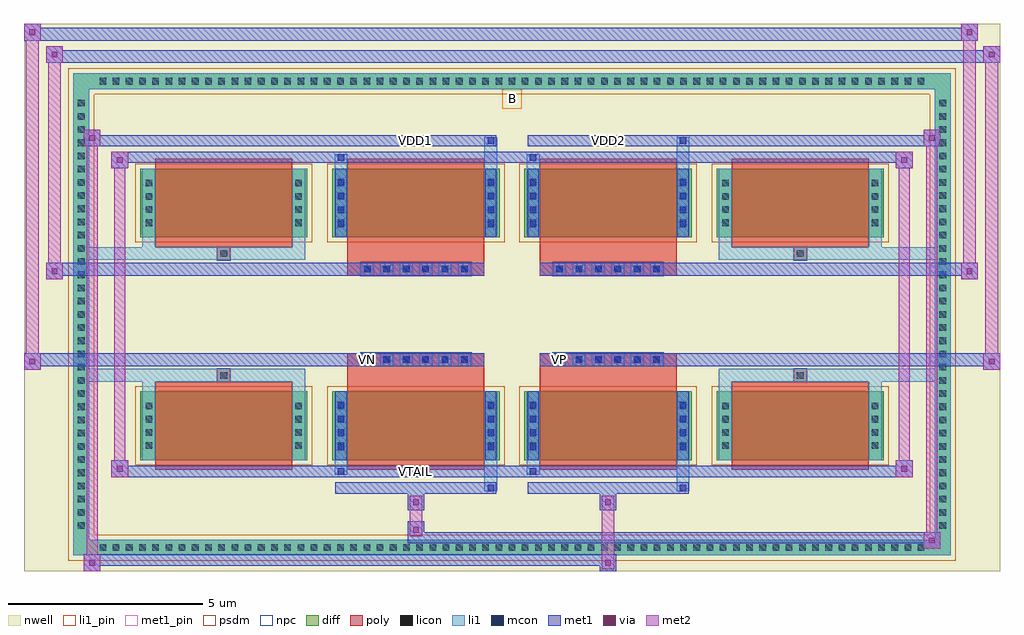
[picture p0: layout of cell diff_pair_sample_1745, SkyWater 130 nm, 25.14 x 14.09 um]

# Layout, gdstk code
import gdstk
lib = gdstk.Library(unit=1e-6, precision=5e-09)
def R(c, l, rs):  # rectangles x0, y0, x1, y1
    for r in rs: c.add(gdstk.rectangle(r[:2], r[2:], *l))
def A(c, l, x, y, w, h, nx, ny, dx, dy):  # array of equal rectangles
    R(c, l, [(x+i*dx, y+j*dy, x+i*dx+w, y+j*dy+h) for i in range(nx) for j in range(ny)])
def P(c, l, *ps):  # polygons
    for p in ps: c.add(gdstk.Polygon(p, *l))
nwell = (64, 20)
diff = (65, 20)
poly = (66, 20)
licon = (66, 44)
li1_pin = (67, 16)
li1 = (67, 20)
mcon = (67, 44)
met1_pin = (68, 16)
met1 = (68, 20)
via = (68, 44)
met2 = (69, 20)
psdm = (94, 20)
npc = (95, 20)

diff_pair_sample_1745 = lib.new_cell('diff_pair_sample_1745')
R(diff_pair_sample_1745, nwell, [(-12.57,-6.61,12.57,7.48), (-9.89,-4.8,-0.01,-0.8), (0.01,-4.8,9.89,-0.8), (-9.89,0.8,-0.01,4.8), (0.01,0.8,9.89,4.8)])
A(diff_pair_sample_1745, diff, -10.745, -6.21, 0.41, 0.41, 63, 2, 0.34, 12.01)
A(diff_pair_sample_1745, diff, -11.3, -5.645, 0.41, 0.41, 1, 33, 0, 0.34)
A(diff_pair_sample_1745, diff, 10.89, -5.645, 0.41, 0.41, 1, 33, 0, 0.34)
A(diff_pair_sample_1745, diff, -9.58, -3.755, 4.31, 1.77, 4, 2, 4.95, 5.74)
R(diff_pair_sample_1745, diff, [(-10.745,-6.21,10.745,-5.8), (-11.3,-5.645,-10.89,5.645), (10.89,-5.645,11.3,5.645), (-10.745,5.8,10.745,6.21)])
P(diff_pair_sample_1745, diff, [(11.3,6.21),(-11.3,6.21),(-11.3,-5.8),(-10.89,-5.8),(-10.89,5.8),(10.89,5.8),(10.89,-5.8),(-10.89,-5.8),(-11.3,-5.8),(-11.3,-6.21),(11.3,-6.21)])
A(diff_pair_sample_1745, poly, -9.19, -4.005, 3.53, 2.27, 4, 2, 4.95, 5.74)
A(diff_pair_sample_1745, poly, -3.89, -1.33, 0.33, 0.33, 6, 2, 0.5, 2.33)
A(diff_pair_sample_1745, poly, 1.06, -1.33, 0.33, 0.33, 6, 2, 0.5, 2.33)
R(diff_pair_sample_1745, poly, [(-7.59,-1.735,-7.26,-1.405), (-7.59,-1.735,-7.26,-1.405), (-4.24,-1.735,-0.71,-1.33), (0.71,-1.735,4.24,-1.33), (7.26,-1.735,7.59,-1.405), (7.26,-1.735,7.59,-1.405), (-4.24,-1.33,-0.71,-1), (0.71,-1.33,4.24,-1), (-4.24,1,-0.71,1.33), (0.71,1,4.24,1.33), (-4.24,1.33,-0.71,1.735), (0.71,1.33,4.24,1.735), (-7.59,1.405,-7.26,1.735), (-7.59,1.405,-7.26,1.735), (7.26,1.405,7.59,1.735), (7.26,1.405,7.59,1.735)])
A(diff_pair_sample_1745, licon, -10.625, -6.09, 0.17, 0.17, 63, 2, 0.34, 12.01)
A(diff_pair_sample_1745, licon, -11.18, -5.525, 0.17, 0.17, 1, 33, 0, 0.34)
A(diff_pair_sample_1745, licon, 11.01, -5.525, 0.17, 0.17, 1, 33, 0, 0.34)
A(diff_pair_sample_1745, licon, -9.44, -3.465, 0.17, 0.17, 1, 4, 0, 0.34)
A(diff_pair_sample_1745, licon, -5.58, -3.465, 0.17, 0.17, 1, 4, 0, 0.34)
A(diff_pair_sample_1745, licon, -4.49, -3.465, 0.17, 0.17, 1, 4, 0, 0.34)
A(diff_pair_sample_1745, licon, -0.63, -3.465, 0.17, 0.17, 1, 4, 0, 0.34)
A(diff_pair_sample_1745, licon, 0.46, -3.465, 0.17, 0.17, 1, 4, 0, 0.34)
A(diff_pair_sample_1745, licon, 4.32, -3.465, 0.17, 0.17, 1, 4, 0, 0.34)
A(diff_pair_sample_1745, licon, 5.41, -3.465, 0.17, 0.17, 1, 4, 0, 0.34)
A(diff_pair_sample_1745, licon, 9.27, -3.465, 0.17, 0.17, 1, 4, 0, 0.34)
A(diff_pair_sample_1745, licon, -3.81, -1.25, 0.17, 0.17, 6, 2, 0.5, 2.33)
A(diff_pair_sample_1745, licon, 1.14, -1.25, 0.17, 0.17, 6, 2, 0.5, 2.33)
A(diff_pair_sample_1745, licon, -9.44, 2.275, 0.17, 0.17, 1, 4, 0, 0.34)
A(diff_pair_sample_1745, licon, -5.58, 2.275, 0.17, 0.17, 1, 4, 0, 0.34)
A(diff_pair_sample_1745, licon, -4.49, 2.275, 0.17, 0.17, 1, 4, 0, 0.34)
A(diff_pair_sample_1745, licon, -0.63, 2.275, 0.17, 0.17, 1, 4, 0, 0.34)
A(diff_pair_sample_1745, licon, 0.46, 2.275, 0.17, 0.17, 1, 4, 0, 0.34)
A(diff_pair_sample_1745, licon, 4.32, 2.275, 0.17, 0.17, 1, 4, 0, 0.34)
A(diff_pair_sample_1745, licon, 5.41, 2.275, 0.17, 0.17, 1, 4, 0, 0.34)
A(diff_pair_sample_1745, licon, 9.27, 2.275, 0.17, 0.17, 1, 4, 0, 0.34)
R(diff_pair_sample_1745, licon, [(-7.51,-1.655,-7.34,-1.485), (7.34,-1.655,7.51,-1.485), (-7.51,1.485,-7.34,1.655), (7.34,1.485,7.51,1.655)])
R(diff_pair_sample_1745, li1_pin, [(-0.25,5.3,0.25,5.8)])
A(diff_pair_sample_1745, li1, -10.705, -6.17, 0.33, 0.33, 63, 2, 0.34, 12.01)
A(diff_pair_sample_1745, li1, -11.26, -5.605, 0.33, 0.33, 1, 33, 0, 0.34)
A(diff_pair_sample_1745, li1, 10.93, -5.605, 0.33, 0.33, 1, 33, 0, 0.34)
A(diff_pair_sample_1745, li1, -9.52, -3.545, 0.33, 0.33, 1, 4, 0, 0.34)
A(diff_pair_sample_1745, li1, -5.66, -3.545, 0.33, 0.33, 1, 4, 0, 0.34)
A(diff_pair_sample_1745, li1, -4.57, -3.545, 0.33, 0.33, 1, 4, 0, 0.34)
A(diff_pair_sample_1745, li1, -0.71, -3.545, 0.33, 0.33, 1, 4, 0, 0.34)
A(diff_pair_sample_1745, li1, 0.38, -3.545, 0.33, 0.33, 1, 4, 0, 0.34)
A(diff_pair_sample_1745, li1, 4.24, -3.545, 0.33, 0.33, 1, 4, 0, 0.34)
A(diff_pair_sample_1745, li1, 5.33, -3.545, 0.33, 0.33, 1, 4, 0, 0.34)
A(diff_pair_sample_1745, li1, 9.19, -3.545, 0.33, 0.33, 1, 4, 0, 0.34)
A(diff_pair_sample_1745, li1, -4.49, -3.495, 0.17, 0.17, 1, 4, 0, 0.36)
A(diff_pair_sample_1745, li1, -0.63, -3.495, 0.17, 0.17, 1, 4, 0, 0.36)
A(diff_pair_sample_1745, li1, 0.46, -3.495, 0.17, 0.17, 1, 4, 0, 0.36)
A(diff_pair_sample_1745, li1, 4.32, -3.495, 0.17, 0.17, 1, 4, 0, 0.36)
A(diff_pair_sample_1745, li1, -3.89, -1.33, 0.33, 0.33, 6, 2, 0.5, 2.33)
A(diff_pair_sample_1745, li1, 1.06, -1.33, 0.33, 0.33, 6, 2, 0.5, 2.33)
A(diff_pair_sample_1745, li1, -9.52, 2.195, 0.33, 0.33, 1, 4, 0, 0.34)
A(diff_pair_sample_1745, li1, -5.66, 2.195, 0.33, 0.33, 1, 4, 0, 0.34)
A(diff_pair_sample_1745, li1, -4.57, 2.195, 0.33, 0.33, 1, 4, 0, 0.34)
A(diff_pair_sample_1745, li1, -0.71, 2.195, 0.33, 0.33, 1, 4, 0, 0.34)
A(diff_pair_sample_1745, li1, 0.38, 2.195, 0.33, 0.33, 1, 4, 0, 0.34)
A(diff_pair_sample_1745, li1, 4.24, 2.195, 0.33, 0.33, 1, 4, 0, 0.34)
A(diff_pair_sample_1745, li1, 5.33, 2.195, 0.33, 0.33, 1, 4, 0, 0.34)
A(diff_pair_sample_1745, li1, 9.19, 2.195, 0.33, 0.33, 1, 4, 0, 0.34)
A(diff_pair_sample_1745, li1, -4.49, 2.245, 0.17, 0.17, 1, 4, 0, 0.36)
A(diff_pair_sample_1745, li1, -0.63, 2.245, 0.17, 0.17, 1, 4, 0, 0.36)
A(diff_pair_sample_1745, li1, 0.46, 2.245, 0.17, 0.17, 1, 4, 0, 0.36)
A(diff_pair_sample_1745, li1, 4.32, 2.245, 0.17, 0.17, 1, 4, 0, 0.36)
R(diff_pair_sample_1745, li1, [(-11.3,-6.21,-10.89,-5.8), (-11.3,-6.21,-10.89,-5.8), (-10.89,-6.21,10.89,-5.8), (10.89,-6.21,11.3,-5.8), (10.89,-6.21,11.3,-5.8), (-11.3,-5.8,-10.89,5.8), (10.89,-5.8,11.3,5.8), (-0.71,-4.56,-0.38,-3.755), (-0.63,-4.56,-0.46,-4.39), (4.24,-4.56,4.57,-3.755), (4.32,-4.56,4.49,-4.39), (-4.57,-4.13,-4.24,-3.755), (-4.49,-4.13,-4.32,-3.96), (0.38,-4.13,0.71,-3.755), (0.46,-4.13,0.63,-3.96), (-9.52,-3.755,-9.19,-1.985), (-5.66,-3.755,-5.33,-1.985), (-4.57,-3.755,-4.24,-1.985), (-0.71,-3.755,-0.38,-1.985), (0.38,-3.755,0.71,-1.985), (4.24,-3.755,4.57,-1.985), (5.33,-3.755,5.66,-1.985), (9.19,-3.755,9.52,-1.985), (-4.49,-3.495,-4.32,-2.245), (-0.63,-3.495,-0.46,-2.245), (0.46,-3.495,0.63,-2.245), (4.32,-3.495,4.49,-2.245), (-9.52,-1.985,-9.19,-1.405), (-5.66,-1.985,-5.33,-1.405), (5.33,-1.985,5.66,-1.405), (9.19,-1.985,9.52,-1.405), (-11.3,-1.735,-7.59,-1.405), (-9.52,-1.735,-7.59,-1.405), (-7.59,-1.735,-7.26,-1.405), (-7.26,-1.735,-5.33,-1.405), (5.33,-1.735,7.26,-1.405), (7.26,-1.735,7.59,-1.405), (7.26,-1.735,11.3,-1.405), (7.59,-1.735,9.52,-1.405), (-11.3,1.405,-7.59,1.735), (-9.52,1.405,-7.59,1.735), (-9.52,1.405,-9.19,1.985), (-7.59,1.405,-7.26,1.735), (-7.26,1.405,-5.33,1.735), (-5.66,1.405,-5.33,1.985), (5.33,1.405,7.26,1.735), (5.33,1.405,5.66,1.985), (7.26,1.405,7.59,1.735), (7.26,1.405,11.3,1.735), (7.59,1.405,9.52,1.735), (9.19,1.405,9.52,1.985), (-9.52,1.985,-9.19,3.755), (-5.66,1.985,-5.33,3.755), (-4.57,1.985,-4.24,3.755), (-0.71,1.985,-0.38,3.755), (0.38,1.985,0.71,3.755), (4.24,1.985,4.57,3.755), (5.33,1.985,5.66,3.755), (9.19,1.985,9.52,3.755), (-4.49,2.245,-4.32,3.495), (-0.63,2.245,-0.46,3.495), (0.46,2.245,0.63,3.495), (4.32,2.245,4.49,3.495), (-4.57,3.755,-4.24,4.13), (-0.71,3.755,-0.38,4.56), (0.38,3.755,0.71,4.13), (4.24,3.755,4.57,4.56), (-4.49,3.96,-4.32,4.13), (0.46,3.96,0.63,4.13), (-0.63,4.39,-0.46,4.56), (4.32,4.39,4.49,4.56), (-11.3,5.8,-10.89,6.21), (-11.3,5.8,-10.89,6.21), (-10.89,5.8,10.89,6.21), (10.89,5.8,11.3,6.21), (10.89,5.8,11.3,6.21)])
A(diff_pair_sample_1745, mcon, -4.49, -3.495, 0.17, 0.17, 1, 4, 0, 0.36)
A(diff_pair_sample_1745, mcon, -0.63, -3.495, 0.17, 0.17, 1, 4, 0, 0.36)
A(diff_pair_sample_1745, mcon, 0.46, -3.495, 0.17, 0.17, 1, 4, 0, 0.36)
A(diff_pair_sample_1745, mcon, 4.32, -3.495, 0.17, 0.17, 1, 4, 0, 0.36)
A(diff_pair_sample_1745, mcon, -3.81, -1.25, 0.17, 0.17, 6, 2, 0.5, 2.33)
A(diff_pair_sample_1745, mcon, 1.14, -1.25, 0.17, 0.17, 6, 2, 0.5, 2.33)
A(diff_pair_sample_1745, mcon, -4.49, 2.245, 0.17, 0.17, 1, 4, 0, 0.36)
A(diff_pair_sample_1745, mcon, -0.63, 2.245, 0.17, 0.17, 1, 4, 0, 0.36)
A(diff_pair_sample_1745, mcon, 0.46, 2.245, 0.17, 0.17, 1, 4, 0, 0.36)
A(diff_pair_sample_1745, mcon, 4.32, 2.245, 0.17, 0.17, 1, 4, 0, 0.36)
R(diff_pair_sample_1745, mcon, [(-0.63,-4.56,-0.46,-4.39), (4.32,-4.56,4.49,-4.39), (-4.49,-4.13,-4.32,-3.96), (0.46,-4.13,0.63,-3.96), (-4.49,3.96,-4.32,4.13), (0.46,3.96,0.63,4.13), (-0.63,4.39,-0.46,4.56), (4.32,4.39,4.49,4.56)])
R(diff_pair_sample_1745, met1_pin, [(-2.61,-4.17,-2.34,-3.9), (-3.86,-1.29,-3.59,-1.02), (1.09,-1.29,1.36,-1.02), (-2.61,4.35,-2.34,4.62), (2.34,4.35,2.61,4.62)])
A(diff_pair_sample_1745, met1, -4.55, -3.555, 0.29, 0.29, 1, 4, 0, 0.36)
A(diff_pair_sample_1745, met1, -0.69, -3.555, 0.29, 0.29, 1, 4, 0, 0.36)
A(diff_pair_sample_1745, met1, 0.4, -3.555, 0.29, 0.29, 1, 4, 0, 0.36)
A(diff_pair_sample_1745, met1, 4.26, -3.555, 0.29, 0.29, 1, 4, 0, 0.36)
A(diff_pair_sample_1745, met1, -3.87, -1.31, 0.29, 0.29, 6, 2, 0.5, 2.33)
A(diff_pair_sample_1745, met1, 1.08, -1.31, 0.29, 0.29, 6, 2, 0.5, 2.33)
A(diff_pair_sample_1745, met1, -4.55, 2.185, 0.29, 0.29, 1, 4, 0, 0.36)
A(diff_pair_sample_1745, met1, -0.69, 2.185, 0.29, 0.29, 1, 4, 0, 0.36)
A(diff_pair_sample_1745, met1, 0.4, 2.185, 0.29, 0.29, 1, 4, 0, 0.36)
A(diff_pair_sample_1745, met1, 4.26, 2.185, 0.29, 0.29, 1, 4, 0, 0.36)
R(diff_pair_sample_1745, met1, [(-11.03,-6.61,-10.6,-6.18), (2.26,-6.61,2.69,-6.18), (-11.03,-6.47,2.69,-6.18), (10.6,-6.04,11.03,-5.61), (-2.69,-5.9,11.03,-5.61), (-2.69,-5.76,-2.26,-5.33), (-2.69,-5.05,-2.26,-4.62), (2.26,-5.05,2.69,-4.62), (-4.55,-4.62,-0.4,-4.33), (-0.69,-4.62,-0.4,-4.33), (0.4,-4.62,4.55,-4.33), (4.26,-4.62,4.55,-4.33), (-10.32,-4.19,-9.89,-3.76), (-10.32,-4.19,-4.55,-3.9), (-4.55,-4.19,-4.26,-3.9), (-4.55,-4.19,-0.4,-3.9), (-0.4,-4.19,0.4,-3.9), (0.4,-4.19,0.69,-3.9), (0.4,-4.19,4.55,-3.9), (4.55,-4.19,10.32,-3.9), (9.89,-4.19,10.32,-3.76), (-4.55,-3.755,-4.26,-1.985), (-0.69,-3.755,-0.4,-1.985), (0.4,-3.755,0.69,-1.985), (4.26,-3.755,4.55,-1.985), (-12.57,-1.43,-12.14,-1), (12.14,-1.43,12.57,-1), (-12.57,-1.33,-0.71,-1), (-4.24,-1.33,-0.71,-1), (0.71,-1.33,4.24,-1), (0.71,-1.33,12.57,-1), (-12,0.9,-11.57,1.33), (11.57,0.9,12,1.33), (-12,1,-4.24,1.33), (-4.24,1,-0.71,1.33), (0.71,1,4.24,1.33), (4.24,1,12,1.33), (-4.55,1.985,-4.26,3.755), (-0.69,1.985,-0.4,3.755), (0.4,1.985,0.69,3.755), (4.26,1.985,4.55,3.755), (-10.32,3.76,-9.89,4.19), (9.89,3.76,10.32,4.19), (-10.32,3.9,-4.55,4.19), (-4.55,3.9,-4.26,4.19), (-4.55,3.9,-0.4,4.19), (-0.4,3.9,0.4,4.19), (0.4,3.9,0.69,4.19), (0.4,3.9,4.55,4.19), (4.55,3.9,10.32,4.19), (-11.03,4.33,-10.6,4.76), (-11.03,4.33,-4.55,4.62), (-4.55,4.33,-0.4,4.62), (-0.69,4.33,-0.4,4.62), (0.4,4.33,4.55,4.62), (4.26,4.33,4.55,4.62), (4.55,4.33,11.03,4.62), (10.6,4.33,11.03,4.76), (-12,6.48,-11.57,6.91), (-12,6.48,-9.89,6.81), (-9.89,6.48,9.89,6.81), (9.89,6.48,12.57,6.81), (12.14,6.48,12.57,6.91), (-12.57,7.05,-12.14,7.48), (-12.57,7.05,-9.89,7.38), (-9.89,7.05,9.89,7.38), (9.89,7.05,12,7.38), (11.57,7.05,12,7.48)])
R(diff_pair_sample_1745, via, [(-10.89,-6.47,-10.74,-6.32), (2.4,-6.47,2.55,-6.32), (10.74,-5.9,10.89,-5.75), (-2.55,-5.62,-2.4,-5.47), (-2.55,-4.91,-2.4,-4.76), (2.4,-4.91,2.55,-4.76), (-10.18,-4.05,-10.03,-3.9), (10.03,-4.05,10.18,-3.9), (-12.43,-1.29,-12.28,-1.14), (12.28,-1.29,12.43,-1.14), (-11.86,1.04,-11.71,1.19), (11.71,1.04,11.86,1.19), (-10.18,3.9,-10.03,4.05), (10.03,3.9,10.18,4.05), (-10.89,4.47,-10.74,4.62), (10.74,4.47,10.89,4.62), (-11.86,6.62,-11.71,6.77), (12.28,6.62,12.43,6.77), (-12.43,7.19,-12.28,7.34), (11.71,7.19,11.86,7.34)])
R(diff_pair_sample_1745, met2, [(-11.03,-6.61,-10.6,-6.18), (-10.96,-6.61,-10.67,4.76), (-10.67,-6.61,-10.6,-6.18), (-10.98,-6.56,-10.65,-6.23), (2.31,-6.56,2.64,-6.23), (2.31,-6.23,2.64,-5), (10.6,-6.04,11.03,-5.61), (10.67,-6.04,10.96,4.76), (10.96,-6.04,11.03,-5.61), (10.65,-5.99,10.98,-5.66), (-2.64,-5.71,-2.31,-5.38), (-2.64,-5.38,-2.31,-5), (-2.64,-5,-2.31,-4.67), (2.31,-5,2.64,-4.67), (-10.32,-4.19,-9.89,-3.76), (-10.25,-4.19,-9.96,4.19), (-9.96,-4.19,-9.89,-3.76), (9.89,-4.19,10.32,-3.76), (9.96,-4.19,10.25,4.19), (10.25,-4.19,10.32,-3.76), (-10.27,-4.14,-9.94,-3.81), (9.94,-4.14,10.27,-3.81), (-12.57,-1.43,-12.14,-1), (-12.52,-1.43,-12.19,7.48), (-12.19,-1.43,-12.14,-1), (12.14,-1.43,12.57,-1), (12.19,-1.43,12.52,6.91), (12.52,-1.43,12.57,-1), (-12.52,-1.38,-12.19,-1.05), (12.19,-1.38,12.52,-1.05), (-12,0.9,-11.57,1.33), (-11.95,0.9,-11.62,6.91), (-11.62,0.9,-11.57,1.33), (11.57,0.9,12,1.33), (11.62,0.9,11.95,7.48), (11.95,0.9,12,1.33), (-11.95,0.95,-11.62,1.28), (11.62,0.95,11.95,1.28), (-10.32,3.76,-9.89,4.19), (-9.96,3.76,-9.89,4.19), (9.89,3.76,10.32,4.19), (10.25,3.76,10.32,4.19), (-10.27,3.81,-9.94,4.14), (9.94,3.81,10.27,4.14), (-11.03,4.33,-10.6,4.76), (-10.67,4.33,-10.6,4.76), (10.6,4.33,11.03,4.76), (10.96,4.33,11.03,4.76), (-10.98,4.38,-10.65,4.71), (10.65,4.38,10.98,4.71), (-12,6.48,-11.57,6.91), (-11.62,6.48,-11.57,6.91), (12.14,6.48,12.57,6.91), (12.52,6.48,12.57,6.91), (-11.95,6.53,-11.62,6.86), (12.19,6.53,12.52,6.86), (-12.57,7.05,-12.14,7.48), (-12.19,7.05,-12.14,7.48), (11.57,7.05,12,7.48), (11.95,7.05,12,7.48), (-12.52,7.1,-12.19,7.43), (11.62,7.1,11.95,7.43)])
A(diff_pair_sample_1745, psdm, -9.71, -3.885, 4.57, 2.03, 4, 2, 4.95, 5.74)
P(diff_pair_sample_1745, psdm, [(11.43,6.34),(-11.43,6.34),(-11.43,-5.67),(-10.76,-5.67),(-10.76,5.67),(10.76,5.67),(10.76,-5.67),(-10.76,-5.67),(-11.43,-5.67),(-11.43,-6.34),(11.43,-6.34)])
A(diff_pair_sample_1745, npc, -3.91, -1.35, 0.37, 0.37, 6, 2, 0.5, 2.33)
A(diff_pair_sample_1745, npc, 1.04, -1.35, 0.37, 0.37, 6, 2, 0.5, 2.33)
R(diff_pair_sample_1745, npc, [(-7.61,-1.755,-7.24,-1.385), (7.24,-1.755,7.61,-1.385), (-3.91,-1.35,-3.04,-0.98), (-3.91,-1.35,-3.04,-0.98), (-3.41,-1.35,-2.54,-0.98), (-3.41,-1.35,-2.54,-0.98), (-2.91,-1.35,-2.04,-0.98), (-2.91,-1.35,-2.04,-0.98), (-2.41,-1.35,-1.54,-0.98), (-2.41,-1.35,-1.54,-0.98), (-1.91,-1.35,-1.04,-0.98), (-1.91,-1.35,-1.04,-0.98), (1.04,-1.35,1.91,-0.98), (1.04,-1.35,1.91,-0.98), (1.54,-1.35,2.41,-0.98), (1.54,-1.35,2.41,-0.98), (2.04,-1.35,2.91,-0.98), (2.04,-1.35,2.91,-0.98), (2.54,-1.35,3.41,-0.98), (2.54,-1.35,3.41,-0.98), (3.04,-1.35,3.91,-0.98), (3.04,-1.35,3.91,-0.98), (-3.91,0.98,-3.04,1.35), (-3.91,0.98,-3.04,1.35), (-3.41,0.98,-2.54,1.35), (-3.41,0.98,-2.54,1.35), (-2.91,0.98,-2.04,1.35), (-2.91,0.98,-2.04,1.35), (-2.41,0.98,-1.54,1.35), (-2.41,0.98,-1.54,1.35), (-1.91,0.98,-1.04,1.35), (-1.91,0.98,-1.04,1.35), (1.04,0.98,1.91,1.35), (1.04,0.98,1.91,1.35), (1.54,0.98,2.41,1.35), (1.54,0.98,2.41,1.35), (2.04,0.98,2.91,1.35), (2.04,0.98,2.91,1.35), (2.54,0.98,3.41,1.35), (2.54,0.98,3.41,1.35), (3.04,0.98,3.91,1.35), (3.04,0.98,3.91,1.35), (-7.61,1.385,-7.24,1.755), (7.24,1.385,7.61,1.755)])
diff_pair_sample_1745.add(gdstk.Label('VTAIL', (-2.475,-4.035), layer=68, texttype=5))
diff_pair_sample_1745.add(gdstk.Label('VN', (-3.725,-1.155), layer=68, texttype=5))
diff_pair_sample_1745.add(gdstk.Label('VP', (1.225,-1.155), layer=68, texttype=5))
diff_pair_sample_1745.add(gdstk.Label('B', (0,5.55), layer=67, texttype=5))
diff_pair_sample_1745.add(gdstk.Label('VDD2', (2.475,4.485), layer=68, texttype=5))
diff_pair_sample_1745.add(gdstk.Label('VDD1', (-2.475,4.485), layer=68, texttype=5))

lib.write_gds('diff_pair_sample_1745.gds')
